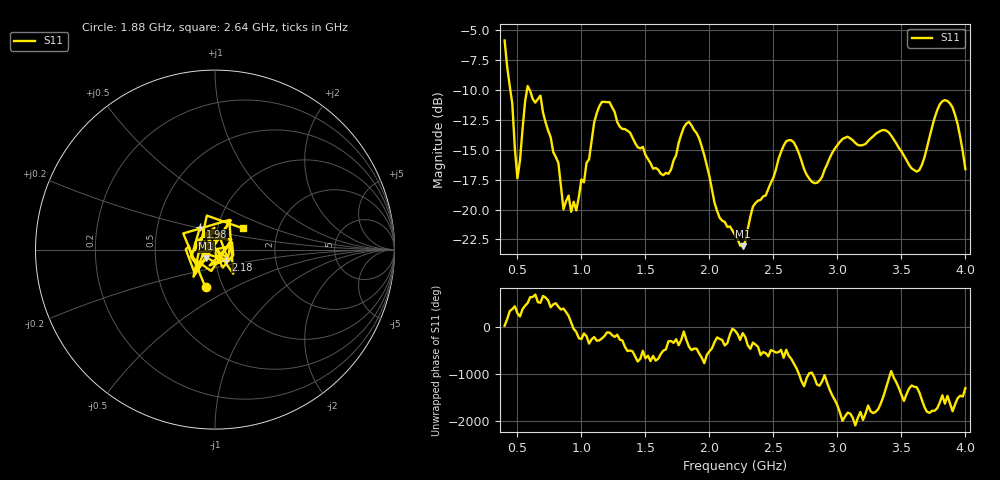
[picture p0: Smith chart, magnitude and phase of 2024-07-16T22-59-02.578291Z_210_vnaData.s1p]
!Created with skrf (http://scikit-rf.org).
# Hz S RI R 50.0
!freq ReS11 ImS11
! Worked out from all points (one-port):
!   181 points, 400 MHz to 4 GHz, reference 50 ohm
!   lowest |S11| = -23.1 dB at 2.26 GHz (marker M1), VSWR 1.15, Z = 45 - j4.47 ohm
!   |S11| at or under -10 dB: 444.5 MHz to 575 MHz (130.5 MHz wide, 25.6 % of centre); 595.4 MHz to end of sweep
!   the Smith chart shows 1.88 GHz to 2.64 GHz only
!   S11 on the Smith chart (normalised r, x): 1.88 GHz: 0.83, -0.37; 1.98 GHz: 0.82, +0.21; 2.18 GHz: 1.12, -0.13; 2.64 GHz: 1.32, +0.33
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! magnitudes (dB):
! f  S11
! 400 MHz  -5.9
! 460 MHz  -11.1
! 500 MHz  -17.4
! 580 MHz  -9.7
! 680 MHz  -10.5
! 820 MHz  -16.1
! 860 MHz  -20.0
! 960 MHz  -20.1
! 1.16 GHz  -11.0
! 1.3 GHz  -13.1
! 1.64 GHz  -17.1
! 1.76 GHz  -14.4
! 1.88 GHz  -13.3
! 1.98 GHz  -16.4
! 2.08 GHz  -20.7
! 2.18 GHz  -21.7
! 2.2 GHz  -22.1
! 2.26 GHz  -23.1
! 2.64 GHz  -14.2
! 2.66 GHz  -14.4
! 2.82 GHz  -17.8
! 3.1 GHz  -14.0
! 3.38 GHz  -13.4
! 3.56 GHz  -16.3
! 3.64 GHz  -16.7
! 3.84 GHz  -10.9
! 3.92 GHz  -12.1
! 4 GHz  -16.6
